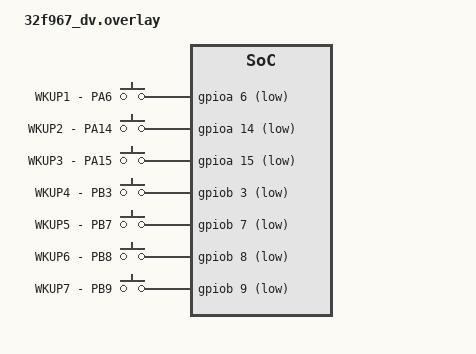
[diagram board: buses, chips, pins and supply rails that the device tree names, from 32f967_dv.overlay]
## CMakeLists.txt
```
# SPDX-License-Identifier: Apache-2.0
#
# EM32F967 All-WKUP-Pin Sample (WKUP1..WKUP7 wake from PDSW2, RTC off)

cmake_minimum_required(VERSION 3.20.0)

list(APPEND ZEPHYR_EXTRA_MODULES ${CMAKE_CURRENT_LIST_DIR}/../..)

message(STATUS "Include compat_overlays.cmake!")
include(${ZEPHYR_EXTRA_MODULES}/cmake/compat_overlays.cmake)

find_package(Zephyr REQUIRED HINTS $ENV{ZEPHYR_BASE})
project(elan_all_wkup_pin_sample)

target_sources(app PRIVATE src/main.c)
```

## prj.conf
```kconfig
# EM32F967 All-WKUP-Pin Sample
#
# Wakes from PDSW2 (Standby1) with the 32 kHz oscillator OFF (RTC disabled)
# using any of the seven external WakeUp sources:
#   WKUP1 PA6,  WKUP2 PA14, WKUP3 PA15,
#   WKUP4 PB3,  WKUP5 PB7,  WKUP6 PB8,  WKUP7 PB9

# -------- Power management --------
CONFIG_PM=y
# Required by CONFIG_EM32_WKUP_PINS (transitive). We do not actually call
# sys_poweroff() — the chip enters PDSW2 via pm_state_force().
CONFIG_POWEROFF=y

# -------- EM32 WakeUp controller glue --------
# Activates Phase-1 registration (gpio_em32.c :: em32_pwr_wkup_pin_cfg_gpio)
# and Phase-2 hardware activation (em32_pwr_wkup_pin_cfg_pupd) which is
# invoked from soc/elan/em32f967/power.c :: pm_handle_standby_modes() before
# entering PDSW2.
CONFIG_EM32_WKUP_PINS=y

# -------- GPIO / pinctrl --------
CONFIG_GPIO=y
CONFIG_GPIO_EM32=y
CONFIG_PINCTRL=y
CONFIG_PINCTRL_EM32=y

# -------- Console / logging --------
CONFIG_SERIAL=y
CONFIG_UART_CONSOLE=y
CONFIG_UART_EM32=y
CONFIG_CONSOLE=y
CONFIG_PRINTK=y

CONFIG_LOG=y
CONFIG_LOG_DEFAULT_LEVEL=3
# Immediate mode so PM traces print even if the chip resets on wake
# (WakeUp controller asserts system RESET for most wake events in PDSW2).
CONFIG_LOG_MODE_IMMEDIATE=y

# -------- Kernel --------
CONFIG_MAIN_STACK_SIZE=2048
CONFIG_SYSTEM_WORKQUEUE_STACK_SIZE=2048
CONFIG_BUILD_OUTPUT_INFO_HEADER=y
```

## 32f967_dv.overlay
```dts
/*
 * SPDX-FileCopyrightText: 2026 ELAN Microelectronics Corp.
 * SPDX-License-Identifier: Apache-2.0
 *
 * Overlay for the elan_all_wkup_pin sample.
 *
 * Declares all 7 EM32F967 external wakeup sources as gpio-keys nodes
 * so main.c can pull them with GPIO_DT_SPEC_GET_BY_IDX() and register
 * each one with the EM32 WakeUp controller by passing EM32_GPIO_WKUP
 * to gpio_pin_configure_dt().
 *
 * Hardware-fixed mapping (drivers/gpio/gpio_em32.c :: em32_wkup_pin_table):
 *   WKUP1 → PA6   WKUP2 → PA14  WKUP3 → PA15
 *   WKUP4 → PB3   WKUP5 → PB7   WKUP6 → PB8   WKUP7 → PB9
 *
 * Every pin uses GPIO_ACTIVE_LOW so the Phase-2 activation code in
 * em32_pwr_wkup_pin_cfg_pupd() programs the 2-bit WAKETYPE field to
 * FALLINGEDGE (00b) — i.e. "button press pulls the pin to GND".
 *
 * USB is disabled because the UDC adds ~mA of standby current.
 */

#include <elan/32f967_dv_priv.dtsi>
#include <dt-bindings/gpio/gpio.h>

/ {
	wakeup_pins {
		compatible = "gpio-keys";

		wkup1: wkup_1 {
			gpios = <&gpioa 6  (GPIO_PULL_UP | GPIO_ACTIVE_LOW)>;
			label = "WKUP1 - PA6";
		};
		wkup2: wkup_2 {
			gpios = <&gpioa 14 (GPIO_PULL_UP | GPIO_ACTIVE_LOW)>;
			label = "WKUP2 - PA14";
		};
		wkup3: wkup_3 {
			gpios = <&gpioa 15 (GPIO_PULL_UP | GPIO_ACTIVE_LOW)>;
			label = "WKUP3 - PA15";
		};
		wkup4: wkup_4 {
			gpios = <&gpiob 3  (GPIO_PULL_UP | GPIO_ACTIVE_LOW)>;
			label = "WKUP4 - PB3";
		};
		wkup5: wkup_5 {
			gpios = <&gpiob 7  (GPIO_PULL_UP | GPIO_ACTIVE_LOW)>;
			label = "WKUP5 - PB7";
		};
		wkup6: wkup_6 {
			gpios = <&gpiob 8  (GPIO_PULL_UP | GPIO_ACTIVE_LOW)>;
			label = "WKUP6 - PB8";
		};
		wkup7: wkup_7 {
			gpios = <&gpiob 9  (GPIO_PULL_UP | GPIO_ACTIVE_LOW)>;
			label = "WKUP7 - PB9";
		};
	};
};

&zephyr_udc0 {
	status = "disabled";
};
```

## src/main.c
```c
/*
 * SPDX-FileCopyrightText: 2026 ELAN Microelectronics Corp.
 * SPDX-License-Identifier: Apache-2.0
 */

/**
 * @file
 * @brief EM32F967 — wake from PDSW2 (Standby1, RTC off) on any WKUP1..WKUP7 pin.
 *
 * Flow:
 *   1. Boot banner.
 *   2. For each WKUP node declared in the overlay, call
 *      gpio_pin_configure_dt(spec, GPIO_INPUT | EM32_GPIO_WKUP).
 *      The EM32 GPIO driver (drivers/gpio/gpio_em32.c :: gpio_em32_pin_configure)
 *      forwards each request to em32_pwr_wkup_pin_cfg_gpio() which stores
 *      the (port, pin, flags) tuple in a private registry.
 *   3. Wait 3 seconds with all PM policy states locked (so k_msleep really
 *      sleeps and no deeper state is auto-selected by the policy).
 *   4. Release the locks and call pm_state_force(PM_STATE_STANDBY, substate=2).
 *      Substate 2 maps to PDSW2 with rtc_enable=false (SIRC32 domain off) in
 *      soc/elan/em32f967/power.c :: pm_handle_standby_modes().
 *   5. pm_handle_standby_modes() calls em32_pwr_wkup_pin_cfg_pupd() which
 *      applies AF5 mux, WAKEUP_REG WAKEUPEN/WAKETYPE bits, and enables
 *      WakeUp_Int_IRQn (IRQ 3).
 *   6. A button press on any of the 7 wakeup pins toggles the pin LOW →
 *      falling-edge event → WakeUp controller asserts system RESET → the
 *      CPU restarts from the reset vector and main() prints the banner again.
 */

#include <zephyr/kernel.h>
#include <zephyr/device.h>
#include <zephyr/drivers/gpio.h>
#include <zephyr/pm/pm.h>
#include <zephyr/pm/policy.h>
#include <zephyr/logging/log.h>
#include <zephyr/sys/printk.h>

#include <zephyr/dt-bindings/gpio/em32-gpio.h>

LOG_MODULE_REGISTER(all_wkup_pin, LOG_LEVEL_INF);

#define WKUP_NODE(n)	DT_NODELABEL(wkup##n)

BUILD_ASSERT(DT_NODE_EXISTS(WKUP_NODE(1)), "wkup1 missing from overlay");
BUILD_ASSERT(DT_NODE_EXISTS(WKUP_NODE(2)), "wkup2 missing from overlay");
BUILD_ASSERT(DT_NODE_EXISTS(WKUP_NODE(3)), "wkup3 missing from overlay");
BUILD_ASSERT(DT_NODE_EXISTS(WKUP_NODE(4)), "wkup4 missing from overlay");
BUILD_ASSERT(DT_NODE_EXISTS(WKUP_NODE(5)), "wkup5 missing from overlay");
BUILD_ASSERT(DT_NODE_EXISTS(WKUP_NODE(6)), "wkup6 missing from overlay");
BUILD_ASSERT(DT_NODE_EXISTS(WKUP_NODE(7)), "wkup7 missing from overlay");

struct wkup_desc {
	const char *name;
	struct gpio_dt_spec spec;
};

static const struct wkup_desc wkup_pins[] = {
	{ "WKUP1 (PA6)",  GPIO_DT_SPEC_GET(WKUP_NODE(1), gpios) },
	{ "WKUP2 (PA14)", GPIO_DT_SPEC_GET(WKUP_NODE(2), gpios) },
	{ "WKUP3 (PA15)", GPIO_DT_SPEC_GET(WKUP_NODE(3), gpios) },
	{ "WKUP4 (PB3)",  GPIO_DT_SPEC_GET(WKUP_NODE(4), gpios) },
	{ "WKUP5 (PB7)",  GPIO_DT_SPEC_GET(WKUP_NODE(5), gpios) },
	{ "WKUP6 (PB8)",  GPIO_DT_SPEC_GET(WKUP_NODE(6), gpios) },
	{ "WKUP7 (PB9)",  GPIO_DT_SPEC_GET(WKUP_NODE(7), gpios) },
};

/*
 * PDSW2 + RTC disabled.  substate-id=2 is already declared as `standby1`
 * in dts/arm/elan/32f967_dv_priv.dtsi, so pm_state_force() will accept it.
 */
static const struct pm_state_info pdsw2_rtc_off = {
	.state = PM_STATE_STANDBY,
	.substate_id = 2,
	.min_residency_us = 0,
	.exit_latency_us = 0,
};

static int register_all_wakeup_pins(void)
{
	int registered = 0;

	for (size_t i = 0; i < ARRAY_SIZE(wkup_pins); i++) {
		const struct gpio_dt_spec *spec = &wkup_pins[i].spec;
		int ret;

		if (!gpio_is_ready_dt(spec)) {
			printk("  [%s] port %s not ready — skipped\n",
				wkup_pins[i].name, spec->port->name);
			continue;
		}

		ret = gpio_pin_configure_dt(spec, GPIO_INPUT | EM32_GPIO_WKUP);
		if (ret < 0) {
			printk("  [%s] gpio_pin_configure_dt failed (%d) — skipped\n",
				wkup_pins[i].name, ret);
			continue;
		}

		printk("  [%s] registered (port=%s pin=%d flags=0x%x)\n",
			wkup_pins[i].name, spec->port->name,
			spec->pin, spec->dt_flags);
		registered++;
	}

	return registered;
}

static void lock_all_pm_states(void)
{
	pm_policy_state_lock_get(PM_STATE_SUSPEND_TO_IDLE, PM_ALL_SUBSTATES);
	pm_policy_state_lock_get(PM_STATE_STANDBY,        PM_ALL_SUBSTATES);
	pm_policy_state_lock_get(PM_STATE_SUSPEND_TO_RAM, PM_ALL_SUBSTATES);
	pm_policy_state_lock_get(PM_STATE_SOFT_OFF,       PM_ALL_SUBSTATES);
}

static void unlock_all_pm_states(void)
{
	pm_policy_state_lock_put(PM_STATE_SUSPEND_TO_IDLE, PM_ALL_SUBSTATES);
	pm_policy_state_lock_put(PM_STATE_STANDBY,        PM_ALL_SUBSTATES);
	pm_policy_state_lock_put(PM_STATE_SUSPEND_TO_RAM, PM_ALL_SUBSTATES);
	pm_policy_state_lock_put(PM_STATE_SOFT_OFF,       PM_ALL_SUBSTATES);
}

int main(void)
{
	int registered;

	printk("\n");
	printk("================================================================\n");
	printk("  EM32F967 All-WKUP-Pin Sample (elan_all_wkup_pin)\n");
	printk("  Build : " __DATE__ " " __TIME__ "\n");
	printk("  Board : 32f967_dv\n");
	printk("  Target: PDSW2 (Standby1), RTC off — substate_id = 2\n");
	printk("  Wake  : any of WKUP1..WKUP7 (PA6/PA14/PA15/PB3/PB7/PB8/PB9)\n");
	printk("================================================================\n");

	printk("\n[1/4] Registering all 7 WKUP sources with the EM32 WakeUp controller ...\n");
	registered = register_all_wakeup_pins();
	printk("      %d / %d WKUP sources registered\n",
		registered, (int)ARRAY_SIZE(wkup_pins));

	if (registered == 0) {
		printk("[ERR] no wakeup pins registered — aborting\n");
		return -ENODEV;
	}

	printk("\n[2/4] Locking PM states during 3-second pre-sleep window ...\n");
	lock_all_pm_states();
	for (int i = 3; i > 0; i--) {
		printk("      %d ...\n", i);
		k_msleep(1000);
	}

	printk("\n[3/4] Releasing locks and forcing PDSW2 (substate 2, RTC off) ...\n");
	unlock_all_pm_states();

	if (!pm_state_force(0U, &pdsw2_rtc_off)) {
		printk("[ERR] pm_state_force(PDSW2, substate=2) rejected — check DTS power-states\n");
		return -EIO;
	}
	printk("      PDSW2 requested. power.c will now:\n");
	printk("        - call em32_pwr_wkup_pin_cfg_pupd() (AF5 mux + WAKEUP_REG + IRQ3)\n");
	printk("        - power down the 32 kHz oscillator (SIRC32PD=1)\n");
	printk("        - enter Standby1 (PDSW2)\n");
	printk("      Press any of SW/WKUP buttons to trigger a SYSTEM RESET wake.\n");

	printk("\n[4/4] Yielding to idle. Waiting for button-press wakeup ...\n");
	while (1) {
		k_msleep(1000);
		printk("  (still awake — PDSW2 entry pending / post-wake loop)\n");
	}

	return 0;
}
```
